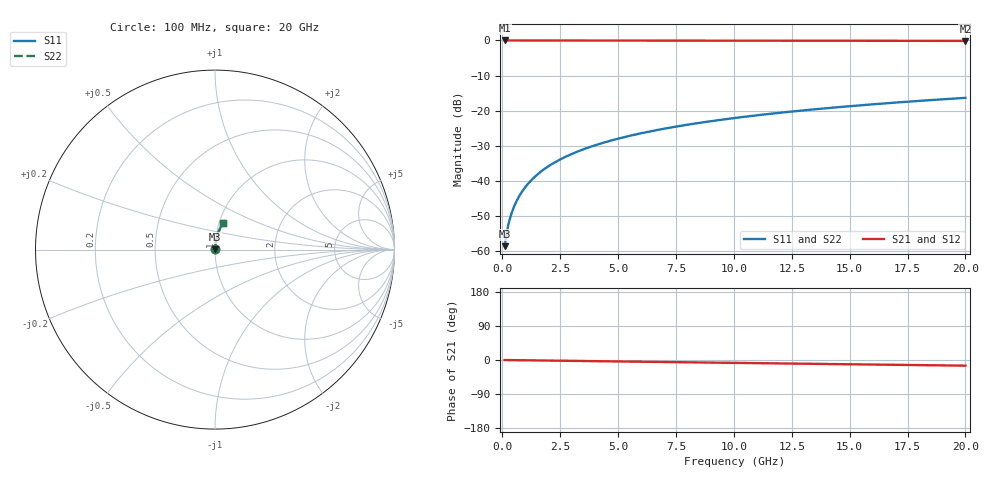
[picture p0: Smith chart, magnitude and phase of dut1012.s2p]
! Touchstone file exported from HFSS 2026.1.0
!  File:  C:/ffzhzh/LocalFiles/Ansys_Project_Files/temp_train_BSMRDL_1012_1783173294_22436.aedt
!  Generated:  09:56:08 PM Jul  4, 2026
!  Design:  BSMRDL
!  Project:  temp_train_BSMRDL_1012_1783173294_22436
! Variables:
!  h_bsmrdl = 4.12um
!  h_ox = 20um
!  h_rdl = 5um
!  h_sub = 80um
!  h_tmrdl = 5um
!  h_tsv = 80um
!  h_via = 3um
!  l_bsmrdl = 173.81um
!  l_sub = 573.81um
!  l_tmrdl = 200um
!  m_sub = 200um
!  pitch = 55.68um
!  r_tsv = 6um
!  s_tmrdl = 10um
!  w_bsmrdl = 26.31um
!  w_sub = 500um
!  w_tmrdl = 12um
!  x_tsv_center1 = 206um
!  x_tsv_center2 = 406.12um
!  x_tsv_center3 = 618.12um
!  x_tsv_center4 = 818.24um
!  x_tsv_center5 = 1030.24um
!  x_tsv_center6 = 1230.36um
# GHz S MA R 50.000000
! Terminal data exported
! Port[1] = BSM_RDL1_1_T1
! Port[2] = BSM_RDL1_1_T2
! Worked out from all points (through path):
!   200 points, 100 MHz to 20 GHz, reference 50 ohm
!   highest |S21| = -0.01 dB at 100 MHz (marker M1); lowest = -0.1 dB at 20 GHz (marker M2)
!   group delay of S21, straight-line fit = 2.07 ps
!   lowest |S11| = -58.7 dB at 100 MHz (marker M3), VSWR 1.00, Z = 50.1 + j0.0875 ohm
!   |S11| at or under -10 dB: start of sweep to end of sweep
!   |S22| runs from -58.7 to -16.4 dB; largest |S21 - S12| = 5.1e-15
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0.1  0.001168 48.4  0.9992 -0.1  0.9992 -0.1  0.001168 48.4
! Gamma 0 0 0 0
! Port Impedance 50 0 50 0
0.2  0.0019 64.1  0.9992 -0.2  0.9992 -0.2  0.0019 64.1
0.3  0.002667 70.8  0.9991 -0.2  0.9991 -0.2  0.002667 70.8
0.4  0.003441 74.6  0.9991 -0.3  0.9991 -0.3  0.003441 74.6
0.5  0.00422 77.0  0.9991 -0.4  0.9991 -0.4  0.00422 77.0
0.7  0.005792 80.0  0.999 -0.5  0.999 -0.5  0.005792 80.0
0.8  0.006583 81.0  0.999 -0.6  0.999 -0.6  0.006583 81.0
1  0.008171 82.3  0.999 -0.8  0.999 -0.8  0.008171 82.3
1.2  0.009765 83.2  0.9989 -0.9  0.9989 -0.9  0.009765 83.2
1.4  0.01136 83.7  0.9989 -1.1  0.9989 -1.1  0.01136 83.7
1.7  0.01376 84.2  0.9988 -1.3  0.9988 -1.3  0.01376 84.2
2  0.01615 84.5  0.9987 -1.5  0.9987 -1.5  0.01615 84.5
2.7  0.02172 84.6  0.9985 -2.1  0.9985 -2.1  0.02172 84.6
3.5  0.02805 84.4  0.9982 -2.7  0.9982 -2.7  0.02805 84.4
4.2  0.03355 84.1  0.9979 -3.2  0.9979 -3.2  0.03355 84.1
5  0.0398 83.7  0.9975 -3.8  0.9975 -3.8  0.0398 83.7
6.8  0.05373 82.6  0.9965 -5.2  0.9965 -5.2  0.05373 82.6
8.3  0.06522 81.6  0.9955 -6.3  0.9955 -6.3  0.06522 81.6
10.1  0.07889 80.4  0.9942 -7.6  0.9942 -7.6  0.07889 80.4
13.4  0.1037 78.2  0.9915 -10.1  0.9915 -10.1  0.1037 78.2
16.7  0.128 75.9  0.9883 -12.5  0.9883 -12.5  0.128 75.9
20  0.1519 73.6  0.9846 -14.9  0.9846 -14.9  0.1519 73.6
